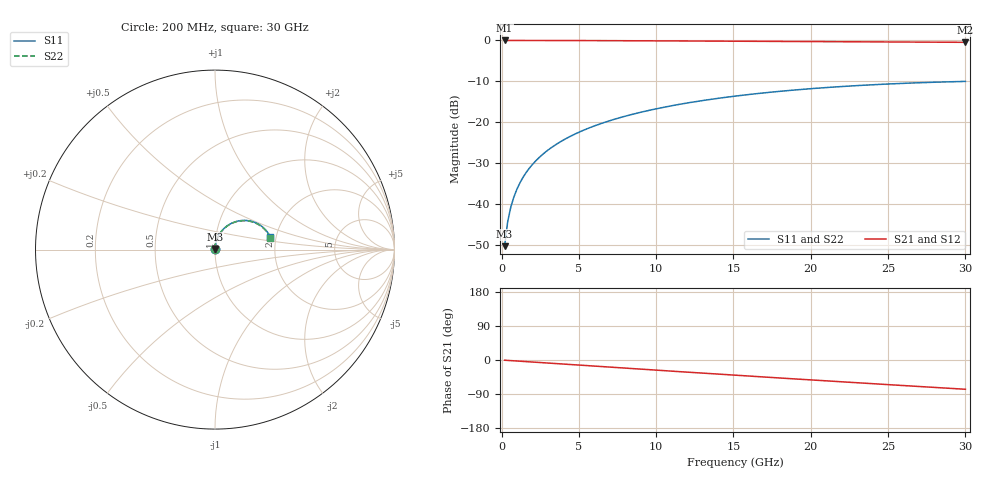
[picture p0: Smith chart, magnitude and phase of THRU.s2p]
! Created Wed Oct 23 12:47:48 2024
! List of port names and net name(s): example Port n = <port_name> <net_name1> <net_name2> ...
! Port 1 = P1 P1 P2 P9
! Port 2 = P4 P1 P9 P2
# hz S ma R 50
! 2 Port Network Data from data block
! freq  magS11  angS11  magS21  angS21  magS12  angS12  magS22  angS22
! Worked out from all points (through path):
!   150 points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, 200 MHz to 30 GHz, reference 50 ohm
!   highest |S21| = 0.00 dB at 200 MHz (marker M1); lowest = -0.5 dB at 30 GHz (marker M2)
!   group delay of S21, straight-line fit = 7.15 ps
!   lowest |S11| = -50.3 dB at 200 MHz (marker M3), VSWR 1.01, Z = 50 + j0.305 ohm
!   |S11| at or under -10 dB: start of sweep to end of sweep
!   |S22| runs from -50.3 to -10.0 dB; largest |S21 - S12| = 0
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2e8  0.003048 89.5  1 -0.5  1 -0.5  0.003048 89.5
4e8  0.006095 88.9  1 -1.1  1 -1.1  0.006095 88.9
6e8  0.009142 88.4  1 -1.6  1 -1.6  0.009142 88.4
8e8  0.01219 87.9  0.9999 -2.2  0.9999 -2.2  0.01219 87.8
1e9  0.01523 87.3  0.9999 -2.7  0.9999 -2.7  0.01523 87.3
1.2e9  0.01828 86.8  0.9998 -3.2  0.9998 -3.2  0.01828 86.7
1.6e9  0.02435 85.7  0.9997 -4.3  0.9997 -4.3  0.02435 85.7
2.2e9  0.03345 84.1  0.9994 -5.9  0.9994 -5.9  0.03345 84.0
2.6e9  0.0395 83.0  0.9992 -7.0  0.9992 -7.0  0.0395 83.0
3e9  0.04553 82.0  0.999 -8.1  0.999 -8.1  0.04553 81.9
4e9  0.06052 79.3  0.9982 -10.8  0.9982 -10.8  0.06052 79.2
5.2e9  0.0783 76.1  0.9969 -14.0  0.9969 -14.0  0.0783 75.9
6.2e9  0.09288 73.4  0.9957 -16.7  0.9957 -16.7  0.09288 73.2
7.4e9  0.1101 70.3  0.9939 -19.9  0.9939 -19.9  0.1101 70.0
8.8e9  0.1296 66.6  0.9916 -23.6  0.9916 -23.6  0.1296 66.3
1.02e10  0.1485 62.9  0.9889 -27.3  0.9889 -27.3  0.1485 62.6
1.26e10  0.1792 56.6  0.9838 -33.6  0.9838 -33.6  0.1792 56.2
1.52e10  0.2096 49.9  0.9778 -40.3  0.9778 -40.3  0.2096 49.4
1.76e10  0.2348 43.8  0.972 -46.5  0.972 -46.5  0.2348 43.2
2.02e10  0.2588 37.3  0.9659 -53.1  0.9659 -53.1  0.2588 36.6
2.52e10  0.2946 24.9  0.9556 -65.5  0.9556 -65.5  0.2946 24.1
3e10  0.3156 13.3  0.9489 -77.2  0.9489 -77.2  0.3156 12.3
